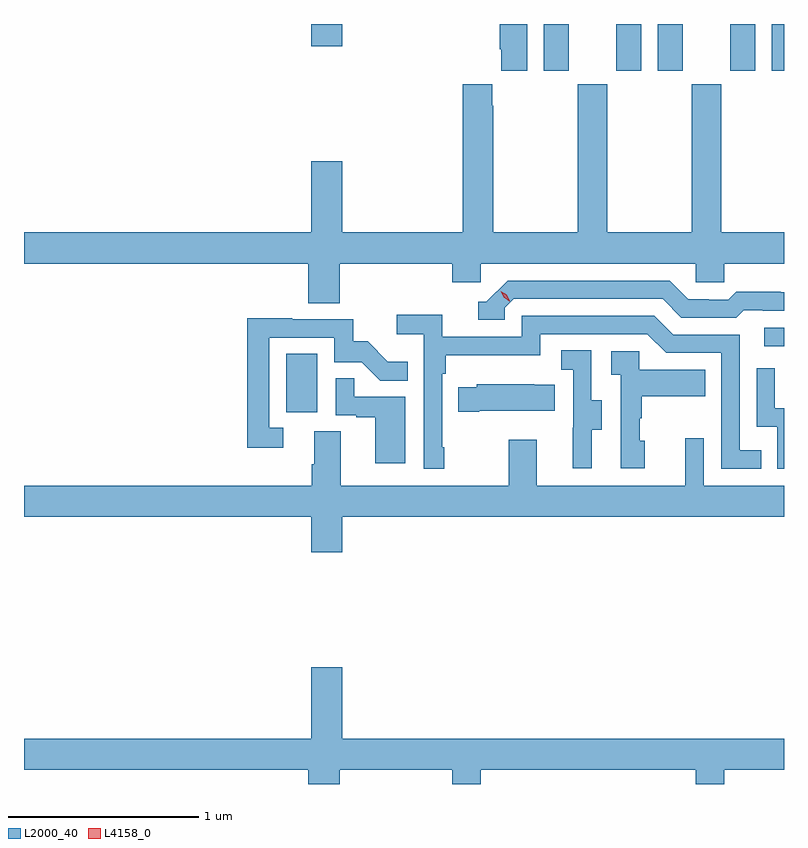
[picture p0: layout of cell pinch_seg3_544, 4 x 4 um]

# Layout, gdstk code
import gdstk
lib = gdstk.Library(unit=1e-6, precision=1e-09)
def R(c, l, rs):  # rectangles x0, y0, x1, y1
    for r in rs: c.add(gdstk.rectangle(r[:2], r[2:], *l))
def P(c, l, *ps):  # polygons
    for p in ps: c.add(gdstk.Polygon(p, *l))
L2000_40 = (2000, 40)
L4158_0 = (4158, 0)

pinch_seg3_544 = lib.new_cell('pinch_seg3_544')
R(pinch_seg3_544, L2000_40, [(1141.898,697.47,1142.062,697.777), (1144.413,697.818,1144.518,697.914), (1143.254,699.267,1143.385,699.513), (1143.635,699.267,1143.766,699.513), (1143.854,699.267,1143.985,699.513), (1144.235,699.267,1144.366,699.513), (1144.454,699.267,1144.518,699.513), (1142.03,699.396,1142.194,699.513)])
P(pinch_seg3_544, L2000_40, [(1143.166,699.513),(1143.023,699.513),(1143.023,699.379),(1143.029,699.379),(1143.029,699.267),(1143.166,699.267)],
  [(1142.18,698.252),(1142.771,698.252),(1142.771,698.154),(1142.922,698.154),(1142.922,698.252),(1144.053,698.252),(1144.053,698.154),(1144.203,698.154),(1144.203,698.252),(1144.518,698.252),(1144.518,698.416),(1144.188,698.416),(1144.188,699.196),(1144.033,699.196),(1144.033,698.416),(1143.588,698.416),(1143.588,699.196),(1143.433,699.196),(1143.433,698.416),(1142.988,698.416),(1142.988,699.083),(1142.983,699.083),(1142.983,699.196),(1142.828,699.196),(1142.828,698.416),(1142.194,698.416),(1142.194,698.791),(1142.03,698.791),(1142.03,698.416),(1140.518,698.416),(1140.518,698.252),(1142.015,698.252),(1142.015,698.044),(1142.18,698.044)],
  [(1143.048,698.019),(1143.096,698.067),(1143.879,698.067),(1143.978,697.968),(1144.267,697.968),(1144.306,698.007),(1144.405,698.007),(1144.405,698.004),(1144.518,698.004),(1144.518,698.101),(1144.5,698.101),(1144.5,698.104),(1144.267,698.104),(1144.225,698.061),(1144.122,698.061),(1144.122,698.064),(1144.015,698.064),(1143.916,698.163),(1143.063,698.163),(1142.952,698.052),(1142.909,698.052),(1142.909,697.956),(1143.048,697.956)],
  [(1142.731,697.285),(1142.718,697.285),(1142.718,697.673),(1142.738,697.673),(1142.738,697.769),(1143.234,697.769),(1143.234,697.881),(1143.798,697.881),(1143.897,697.782),(1144.188,697.782),(1144.188,697.173),(1144.397,697.173),(1144.397,697.269),(1144.284,697.269),(1144.284,697.878),(1143.934,697.878),(1143.835,697.977),(1143.138,697.977),(1143.138,697.866),(1142.72,697.866),(1142.72,697.982),(1142.481,697.982),(1142.481,697.88),(1142.622,697.88),(1142.622,697.173),(1142.731,697.173)],
  [(1141.882,697.389),(1141.809,697.389),(1141.809,697.863),(1142.151,697.863),(1142.151,697.734),(1142.295,697.734),(1142.393,697.636),(1142.537,697.636),(1142.537,697.735),(1142.433,697.735),(1142.326,697.842),(1142.25,697.842),(1142.25,697.959),(1141.931,697.959),(1141.931,697.964),(1141.693,697.964),(1141.693,697.284),(1141.882,697.284)],
  [(1143.505,697.378),(1143.559,697.378),(1143.559,697.533),(1143.504,697.533),(1143.504,697.796),(1143.345,697.796),(1143.345,697.693),(1143.408,697.693),(1143.408,697.389),(1143.407,697.389),(1143.407,697.176),(1143.505,697.176)],
  [(1143.784,697.32),(1143.759,697.32),(1143.759,697.439),(1143.769,697.439),(1143.769,697.553),(1144.103,697.553),(1144.103,697.693),(1143.756,697.693),(1143.756,697.791),(1143.609,697.791),(1143.609,697.667),(1143.66,697.667),(1143.66,697.176),(1143.784,697.176)],
  [(1144.518,697.49),(1144.47,697.49),(1144.47,697.702),(1144.374,697.702),(1144.374,697.392),(1144.482,697.392),(1144.482,697.173),(1144.518,697.173)],
  [(1142.524,697.551),(1142.255,697.551),(1142.255,697.649),(1142.16,697.649),(1142.16,697.455),(1142.267,697.455),(1142.267,697.443),(1142.366,697.443),(1142.366,697.2),(1142.524,697.2)],
  [(1142.914,697.478),(1143.311,697.478),(1143.311,697.615),(1143.203,697.615),(1143.203,697.618),(1142.901,697.618),(1142.901,697.6),(1142.803,697.6),(1142.803,697.471),(1142.914,697.471)],
  [(1142.194,696.92),(1144.518,696.92),(1144.518,697.084),(1144.095,697.084),(1144.095,697.333),(1143.998,697.333),(1143.998,697.084),(1143.217,697.084),(1143.217,697.324),(1143.07,697.324),(1143.07,697.084),(1142.185,697.084),(1142.185,697.37),(1142.045,697.37),(1142.045,697.196),(1142.033,697.196),(1142.033,697.084),(1140.518,697.084),(1140.518,696.92),(1142.03,696.92),(1142.03,696.732),(1142.194,696.732)],
  [(1142.18,695.588),(1142.771,695.588),(1142.771,695.513),(1142.922,695.513),(1142.922,695.588),(1144.053,695.588),(1144.053,695.513),(1144.203,695.513),(1144.203,695.588),(1144.518,695.588),(1144.518,695.752),(1142.194,695.752),(1142.194,696.127),(1142.03,696.127),(1142.03,695.752),(1140.518,695.752),(1140.518,695.588),(1142.015,695.588),(1142.015,695.513),(1142.18,695.513)])
P(pinch_seg3_544, L4158_0, [(1143.073,698.055),(1143.043,698.074),(1143.026,698.106),(1143.026,698.106),(1143.027,698.106),(1143.058,698.087),(1143.074,698.055),(1143.074,698.055)])

lib.write_gds('pinch_seg3_544.gds')
